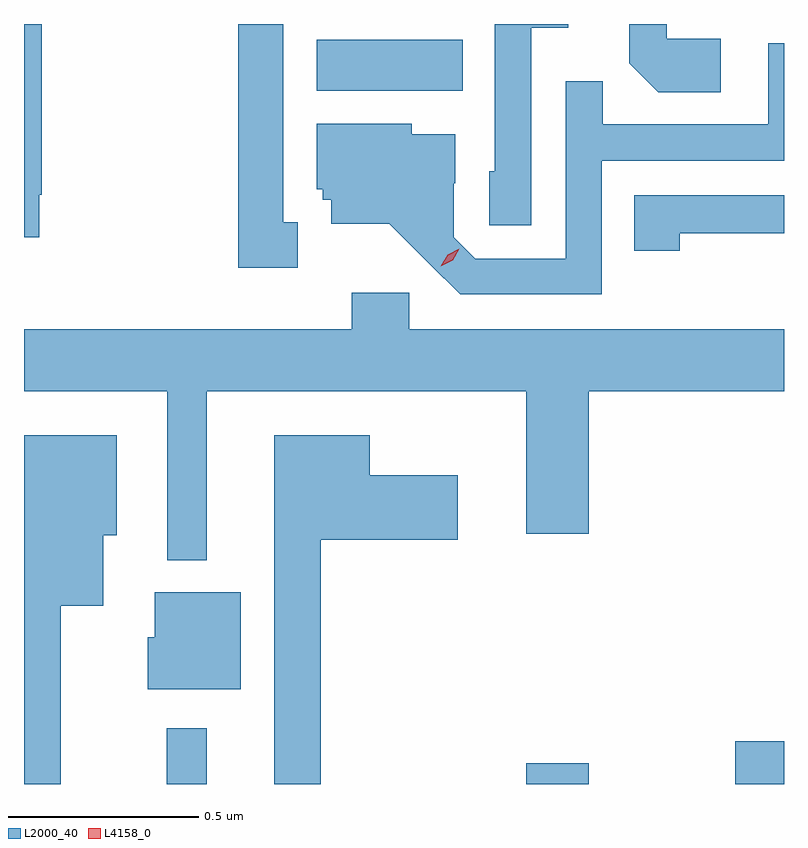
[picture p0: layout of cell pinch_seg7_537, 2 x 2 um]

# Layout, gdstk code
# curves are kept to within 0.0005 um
import gdstk
lib = gdstk.Library(unit=1e-6, precision=1e-09)
def R(c, l, rs):  # rectangles x0, y0, x1, y1
    for r in rs: c.add(gdstk.rectangle(r[:2], r[2:], *l))
def P(c, l, *ps):  # polygons
    for p in ps: c.add(gdstk.Polygon(p, *l))
L2000_40 = (2000, 40)
L4158_0 = (4158, 0)

pinch_seg7_537 = lib.new_cell('pinch_seg7_537')
R(pinch_seg7_537, L2000_40, [(128.097,1059.523,128.203,1059.67), (129.044,1059.523,129.208,1059.577), (129.594,1059.523,129.722,1059.635), (128.492,1061.348,128.876,1061.482)])
P(pinch_seg7_537, L2000_40, [(129.556,1061.484),(129.414,1061.484),(129.414,1061.523),(129.315,1061.523),(129.315,1061.42),(129.391,1061.344),(129.556,1061.344)],
  [(129.057,1061.513),(129.154,1061.513),(129.154,1061.523),(128.961,1061.523),(128.961,1061.136),(128.946,1061.136),(128.946,1060.993),(129.057,1060.993)],
  [(127.762,1061.074),(127.769,1061.074),(127.769,1061.523),(127.722,1061.523),(127.722,1060.962),(127.762,1060.962)],
  [(128.443,1061.001),(128.404,1061.001),(128.404,1061.523),(128.286,1061.523),(128.286,1060.881),(128.443,1060.881)],
  [(129.243,1061.163),(129.722,1061.163),(129.722,1061.473),(129.681,1061.473),(129.681,1061.259),(129.245,1061.259),(129.245,1061.372),(129.147,1061.372),(129.147,1060.905),(128.91,1060.905),(128.853,1060.962),(128.853,1061.104),(128.857,1061.104),(128.857,1061.233),(128.742,1061.233),(128.742,1061.26),(128.492,1061.26),(128.492,1061.088),(128.508,1061.088),(128.508,1061.061),(128.531,1061.061),(128.531,1060.997),(128.683,1060.997),(128.87,1060.812),(129.243,1060.812)],
  [(129.447,1060.972),(129.722,1060.972),(129.722,1061.073),(129.328,1061.073),(129.328,1060.926),(129.447,1060.926)],
  [(128.203,1060.556),(129.044,1060.556),(129.044,1060.182),(129.208,1060.182),(129.208,1060.556),(129.722,1060.556),(129.722,1060.72),(128.736,1060.72),(128.736,1060.816),(128.585,1060.816),(128.585,1060.72),(127.722,1060.72),(127.722,1060.556),(128.099,1060.556),(128.099,1060.112),(128.203,1060.112)],
  [(127.819,1059.992),(127.93,1059.992),(127.93,1060.178),(127.966,1060.178),(127.966,1060.441),(127.722,1060.441),(127.722,1059.523),(127.819,1059.523)],
  [(128.503,1060.166),(128.863,1060.166),(128.863,1060.336),(128.632,1060.336),(128.632,1060.441),(128.381,1060.441),(128.381,1059.523),(128.503,1059.523)],
  [(128.293,1060.027),(128.066,1060.027),(128.066,1059.909),(128.048,1059.909),(128.048,1059.773),(128.293,1059.773)])
P(pinch_seg7_537, L4158_0, [(128.819,1060.886),(128.819,1060.886),(128.837,1060.916),(128.867,1060.932),(128.868,1060.932),(128.868,1060.931),(128.85,1060.901),(128.819,1060.886)])

lib.write_gds('pinch_seg7_537.gds')
